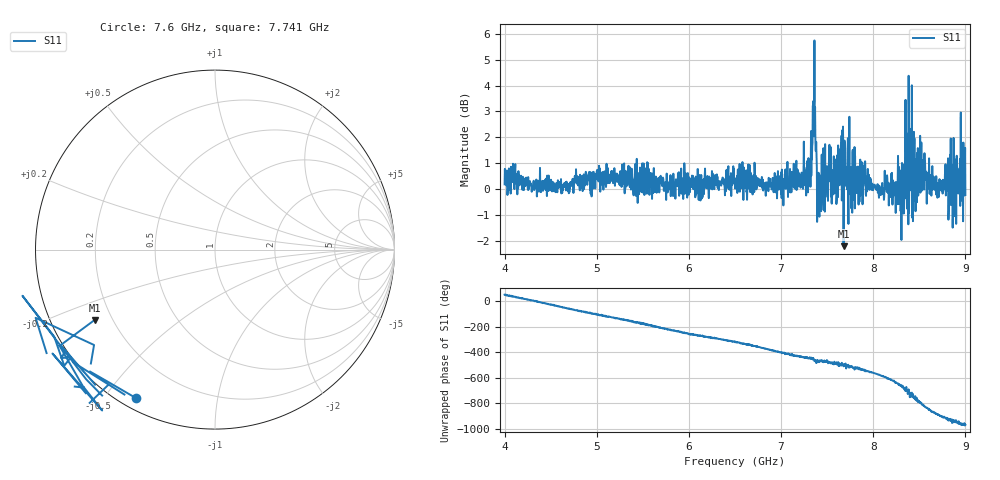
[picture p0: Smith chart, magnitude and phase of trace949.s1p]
! Created with skrf 1.8.0 (http://scikit-rf.org).
# Hz S RI R 50.0
!freq ReS11 ImS11
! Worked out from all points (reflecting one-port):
!   1601 points, 4 GHz to 9 GHz, reference 50 ohm
!   lowest |S11| = -2.2 dB at 7.678 GHz (marker M1), VSWR 7.99, Z = 6.71 - j13.3 ohm
!   phase of S11 starts at 53 deg and turns -1022 deg over the sweep
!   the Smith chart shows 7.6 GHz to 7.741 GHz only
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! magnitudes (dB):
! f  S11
! 4 GHz  0.2
! 4.625 GHz  -0.1
! 5.25 GHz  0.2
! 5.875 GHz  0.1
! 6.5 GHz  0.3
! 7.125 GHz  0.6
! 7.294 GHz  0.1
! 7.316 GHz  0.6
! 7.344 GHz  3.2
! 7.356 GHz  3.2
! 7.366 GHz  2.6
! 7.394 GHz  -0.8
! 7.412 GHz  -0.8
! 7.512 GHz  0.8
! 7.566 GHz  0.3
! 7.65 GHz  1.8
! 7.678 GHz  -2.2
! 7.75 GHz  0.2
! 7.891 GHz  0.1
! 8.312 GHz  1.0
! 8.334 GHz  -0.2
! 8.375 GHz  0.7
! 8.394 GHz  1.6
! 8.447 GHz  2.0
! 8.522 GHz  1.8
! 8.712 GHz  -0.3
! 8.972 GHz  0.6
! 9 GHz  -0.2
